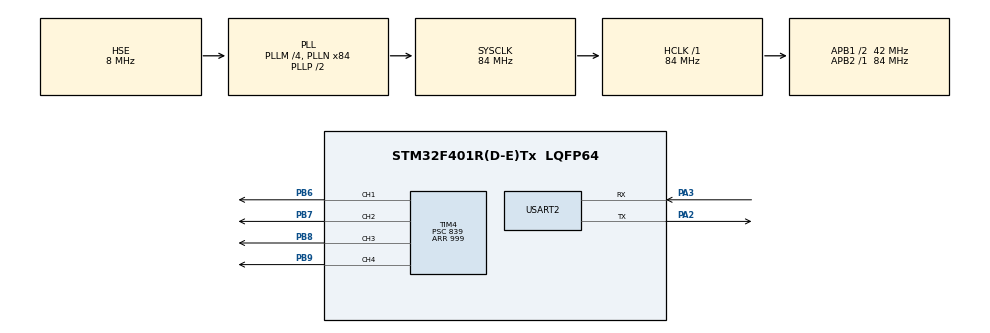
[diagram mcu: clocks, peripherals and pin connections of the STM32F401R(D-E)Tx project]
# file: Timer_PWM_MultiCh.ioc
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Mcu.Family=STM32F4
Mcu.Name=STM32F401R(D-E)Tx
Mcu.Package=LQFP64
NVIC.PriorityGroup=NVIC_PRIORITYGROUP_4
PA13.Mode=Serial_Wire
PA13.Signal=SYS_JTMS-SWDIO
PA14.Mode=Serial_Wire
PA14.Signal=SYS_JTCK-SWCLK
PA2.Mode=Asynchronous
PA2.Signal=USART2_TX
PA3.Mode=Asynchronous
PA3.Signal=USART2_RX
PB6.Signal=S_TIM4_CH1
PB7.Signal=S_TIM4_CH2
PB8.Signal=S_TIM4_CH3
PB9.Signal=S_TIM4_CH4
PH0\ -\ OSC_IN.Mode=HSE-External-Oscillator
PH0\ -\ OSC_IN.Signal=RCC_OSC_IN
PH1\ -\ OSC_OUT.Mode=HSE-External-Oscillator
PH1\ -\ OSC_OUT.Signal=RCC_OSC_OUT
ProjectManager.HeapSize=0x200
ProjectManager.StackSize=0x400
ProjectManager.TargetToolchain=STM32CubeIDE
RCC.48MHZClocksFreq_Value=24000000
RCC.AHBFreq_Value=84000000
RCC.APB1CLKDivider=RCC_HCLK_DIV2
RCC.APB1Freq_Value=42000000
RCC.APB1TimFreq_Value=84000000
RCC.APB2Freq_Value=84000000
RCC.APB2TimFreq_Value=84000000
RCC.CortexFreq_Value=84000000
RCC.HCLKFreq_Value=84000000
RCC.HSE_VALUE=8000000
RCC.HSI_VALUE=16000000
RCC.PLLM=4
RCC.PLLN=84
RCC.PLLQ=7
RCC.PLLSourceVirtual=RCC_PLLSOURCE_HSE
RCC.SYSCLKFreq_VALUE=84000000
RCC.SYSCLKSource=RCC_SYSCLKSOURCE_PLLCLK
RCC.VCOOutputFreq_Value=168000000
SH.S_TIM4_CH1.0=TIM4_CH1,PWM Generation1 CH1
SH.S_TIM4_CH2.0=TIM4_CH2,PWM Generation2 CH2
SH.S_TIM4_CH3.0=TIM4_CH3,PWM Generation3 CH3
SH.S_TIM4_CH4.0=TIM4_CH4,PWM Generation4 CH4
TIM4.Channel-PWM\ Generation1\ CH1=TIM_CHANNEL_1
TIM4.Channel-PWM\ Generation2\ CH2=TIM_CHANNEL_2
TIM4.Channel-PWM\ Generation3\ CH3=TIM_CHANNEL_3
TIM4.Channel-PWM\ Generation4\ CH4=TIM_CHANNEL_4
TIM4.OCPolarity_1=TIM_OCPOLARITY_LOW
TIM4.OCPolarity_2=TIM_OCPOLARITY_LOW
TIM4.OCPolarity_3=TIM_OCPOLARITY_LOW
TIM4.OCPolarity_4=TIM_OCPOLARITY_LOW
TIM4.Period=999
TIM4.Prescaler=839
TIM4.Pulse-PWM\ Generation1\ CH1=500
USART2.VirtualMode=VM_ASYNC
VP_TIM4_VS_ClockSourceINT.Mode=Internal
board=NUCLEO-F401RE

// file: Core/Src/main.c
/* USER CODE BEGIN Header */
/**
  ******************************************************************************
  * @file           : main.c
  * @brief          : Main program body
  ******************************************************************************
  * @attention
  *
  * Copyright (c) 2025 STMicroelectronics.
  * All rights reserved.
  *
  * This software is licensed under terms that can be found in the LICENSE file
  * in the root directory of this software component.
  * If no LICENSE file comes with this software, it is provided AS-IS.
  *
  ******************************************************************************
  */
/* USER CODE END Header */
#include "main.h"

/* USER CODE BEGIN Includes */
#include <stdio.h>
/* USER CODE END Includes */

TIM_HandleTypeDef htim4;

UART_HandleTypeDef huart2;

void SystemClock_Config(void);
static void MX_GPIO_Init(void);
static void MX_TIM4_Init(void);
static void MX_USART2_UART_Init(void);

/* USER CODE BEGIN 0 */

// Send printf to uart2
int _write(int fd, char* ptr, int len) {
  HAL_StatusTypeDef hstatus;

  if (fd == 1 || fd == 2) {
    hstatus = HAL_UART_Transmit(&huart2, (uint8_t *) ptr, len, HAL_MAX_DELAY);
    if (hstatus == HAL_OK)
      return len;
    else
      return -1;
  }
  return -1;
}

/* Tried optimiztion But not working */
//inline uint32_t HAL_GetTick(void) {
//	return uwTick;
//}
/* USER CODE END 0 */

int main(void)
{

  /* MCU Configuration--------------------------------------------------------*/

  /* Reset of all peripherals, Initializes the Flash interface and the Systick. */
  HAL_Init();

  /* Configure the system clock */
  SystemClock_Config();

  /* Initialize all configured peripherals */
  MX_GPIO_Init();
  MX_TIM4_Init();
  MX_USART2_UART_Init();
  /* USER CODE BEGIN 2 */

  printf("PWM starting \t \n");
  printf("Starting Timer \t \n");
  HAL_TIM_PWM_Start(&htim4, TIM_CHANNEL_1);
  HAL_TIM_PWM_Start(&htim4, TIM_CHANNEL_2);
  HAL_TIM_PWM_Start(&htim4, TIM_CHANNEL_3);
  HAL_TIM_PWM_Start(&htim4, TIM_CHANNEL_4);

//  __HAL_TIM_SET_COMPARE(&htim4, TIM_CHANNEL_1, 500);

  /* USER CODE END 2 */

  /* Infinite loop */
  /* USER CODE BEGIN WHILE */

  uint16_t pwm_value = 0;
  int8_t pwm_change = 1;

  uint32_t now = 0, loop_cnt = 0, next_tick = 1000, next_change = 0;
  while (1)
  {
	  now = uwTick;

	  /* try the following for optimization (failed earlier )*/
//	  now = HAL_GetTick();
	  if (now >= next_tick) {
		  printf("Tick %lu (loop = %lu)\n", now / 1000, loop_cnt);
		  loop_cnt = 0;
		  next_tick = now + 1000;
	  }

	  if (now >= next_change) {
		  __HAL_TIM_SET_COMPARE(&htim4, TIM_CHANNEL_1, pwm_value);
		  __HAL_TIM_SET_COMPARE(&htim4, TIM_CHANNEL_2, 1000 - pwm_value);
		  __HAL_TIM_SET_COMPARE(&htim4, TIM_CHANNEL_3, pwm_value);
		  __HAL_TIM_SET_COMPARE(&htim4, TIM_CHANNEL_4, 1000 - pwm_value);

		  // change from 1000 - pwm_value to just pwm_value if u want every LED to glow in same order

		  pwm_value += pwm_change;

		  if (pwm_value == 0) pwm_change = 1;
		  if (pwm_value == 1000) pwm_change = -1;

		  next_change = now + 1;                           // adjust the value to change the speed of blink , e.g  instead of 1 , try 10 or more for slower change
	  }
	  ++loop_cnt;

    /* USER CODE END WHILE */

  }
}

void SystemClock_Config(void)
{
  RCC_OscInitTypeDef RCC_OscInitStruct = {0};
  RCC_ClkInitTypeDef RCC_ClkInitStruct = {0};

  /** Configure the main internal regulator output voltage
  */
  __HAL_RCC_PWR_CLK_ENABLE();
  __HAL_PWR_VOLTAGESCALING_CONFIG(PWR_REGULATOR_VOLTAGE_SCALE2);

  /** Initializes the RCC Oscillators according to the specified parameters
  * in the RCC_OscInitTypeDef structure.
  */
  RCC_OscInitStruct.OscillatorType = RCC_OSCILLATORTYPE_HSE;
  RCC_OscInitStruct.HSEState = RCC_HSE_ON;
  RCC_OscInitStruct.PLL.PLLState = RCC_PLL_ON;
  RCC_OscInitStruct.PLL.PLLSource = RCC_PLLSOURCE_HSE;
  RCC_OscInitStruct.PLL.PLLM = 4;
  RCC_OscInitStruct.PLL.PLLN = 84;
  RCC_OscInitStruct.PLL.PLLP = RCC_PLLP_DIV2;
  RCC_OscInitStruct.PLL.PLLQ = 7;
  if (HAL_RCC_OscConfig(&RCC_OscInitStruct) != HAL_OK)
  {
    Error_Handler();
  }

  /** Initializes the CPU, AHB and APB buses clocks
  */
  RCC_ClkInitStruct.ClockType = RCC_CLOCKTYPE_HCLK|RCC_CLOCKTYPE_SYSCLK
                              |RCC_CLOCKTYPE_PCLK1|RCC_CLOCKTYPE_PCLK2;
  RCC_ClkInitStruct.SYSCLKSource = RCC_SYSCLKSOURCE_PLLCLK;
  RCC_ClkInitStruct.AHBCLKDivider = RCC_SYSCLK_DIV1;
  RCC_ClkInitStruct.APB1CLKDivider = RCC_HCLK_DIV2;
  RCC_ClkInitStruct.APB2CLKDivider = RCC_HCLK_DIV1;

  if (HAL_RCC_ClockConfig(&RCC_ClkInitStruct, FLASH_LATENCY_2) != HAL_OK)
  {
    Error_Handler();
  }
}

static void MX_TIM4_Init(void)
{

  TIM_ClockConfigTypeDef sClockSourceConfig = {0};
  TIM_MasterConfigTypeDef sMasterConfig = {0};
  TIM_OC_InitTypeDef sConfigOC = {0};

  htim4.Instance = TIM4;
  htim4.Init.Prescaler = 839;
  htim4.Init.CounterMode = TIM_COUNTERMODE_UP;
  htim4.Init.Period = 999;
  htim4.Init.ClockDivision = TIM_CLOCKDIVISION_DIV1;
  htim4.Init.AutoReloadPreload = TIM_AUTORELOAD_PRELOAD_DISABLE;
  if (HAL_TIM_Base_Init(&htim4) != HAL_OK)
  {
    Error_Handler();
  }
  sClockSourceConfig.ClockSource = TIM_CLOCKSOURCE_INTERNAL;
  if (HAL_TIM_ConfigClockSource(&htim4, &sClockSourceConfig) != HAL_OK)
  {
    Error_Handler();
  }
  if (HAL_TIM_PWM_Init(&htim4) != HAL_OK)
  {
    Error_Handler();
  }
  sMasterConfig.MasterOutputTrigger = TIM_TRGO_RESET;
  sMasterConfig.MasterSlaveMode = TIM_MASTERSLAVEMODE_DISABLE;
  if (HAL_TIMEx_MasterConfigSynchronization(&htim4, &sMasterConfig) != HAL_OK)
  {
    Error_Handler();
  }
  sConfigOC.OCMode = TIM_OCMODE_PWM1;
  sConfigOC.Pulse = 500;
  sConfigOC.OCPolarity = TIM_OCPOLARITY_LOW;
  sConfigOC.OCFastMode = TIM_OCFAST_DISABLE;
  if (HAL_TIM_PWM_ConfigChannel(&htim4, &sConfigOC, TIM_CHANNEL_1) != HAL_OK)
  {
    Error_Handler();
  }
  sConfigOC.Pulse = 0;
  if (HAL_TIM_PWM_ConfigChannel(&htim4, &sConfigOC, TIM_CHANNEL_2) != HAL_OK)
  {
    Error_Handler();
  }
  if (HAL_TIM_PWM_ConfigChannel(&htim4, &sConfigOC, TIM_CHANNEL_3) != HAL_OK)
  {
    Error_Handler();
  }
  if (HAL_TIM_PWM_ConfigChannel(&htim4, &sConfigOC, TIM_CHANNEL_4) != HAL_OK)
  {
    Error_Handler();
  }
  HAL_TIM_MspPostInit(&htim4);

}

static void MX_USART2_UART_Init(void)
{

  huart2.Instance = USART2;
  huart2.Init.BaudRate = 115200;
  huart2.Init.WordLength = UART_WORDLENGTH_8B;
  huart2.Init.StopBits = UART_STOPBITS_1;
  huart2.Init.Parity = UART_PARITY_NONE;
  huart2.Init.Mode = UART_MODE_TX_RX;
  huart2.Init.HwFlowCtl = UART_HWCONTROL_NONE;
  huart2.Init.OverSampling = UART_OVERSAMPLING_16;
  if (HAL_UART_Init(&huart2) != HAL_OK)
  {
    Error_Handler();
  }

}

static void MX_GPIO_Init(void)
{

  /* GPIO Ports Clock Enable */
  __HAL_RCC_GPIOH_CLK_ENABLE();
  __HAL_RCC_GPIOA_CLK_ENABLE();
  __HAL_RCC_GPIOB_CLK_ENABLE();

}

void Error_Handler(void)
{
  __disable_irq();
  while (1)
  {
  }
}
